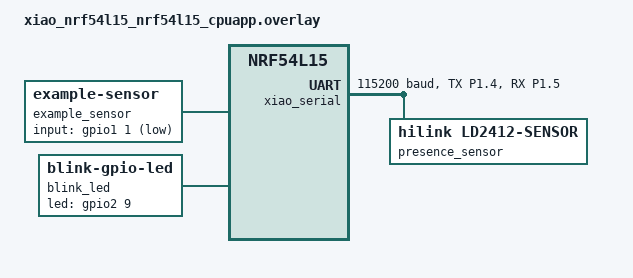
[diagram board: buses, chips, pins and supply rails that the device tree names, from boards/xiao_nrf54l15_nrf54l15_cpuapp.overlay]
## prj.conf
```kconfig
# Copyright (c) 2021 Nordic Semiconductor ASA
# SPDX-License-Identifier: Apache-2.0
#
# This file contains selected Kconfig options for the application.
CONFIG_MAIN_STACK_SIZE=2048
CONFIG_ISR_STACK_SIZE=2048
CONFIG_IDLE_STACK_SIZE=512
CONFIG_STACK_SENTINEL=y

CONFIG_LOG=y
CONFIG_LOG_MODE_IMMEDIATE=n

CONFIG_SERIAL=y
CONFIG_UART_ASYNC_API=y

CONFIG_SENSOR=y
CONFIG_LD2412_SENSOR=y
# CONFIG_LD2412_SENSOR_LOG_LEVEL_DBG=y
CONFIG_BLINK=y
```

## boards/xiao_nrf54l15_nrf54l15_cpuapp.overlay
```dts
// To get started, press Ctrl+Space (or Option+Esc) to bring up the completion menu and view the available nodes.

// You can also use the buttons in the sidebar to perform actions on nodes.
// Actions currently available include:

// * Enabling / disabling the node
// * Adding the bus to a bus
// * Removing the node
// * Connecting ADC channels

// For more help, browse the DeviceTree documentation at https://docs.zephyrproject.org/latest/guides/dts/index.html
// You can also visit the nRF DeviceTree extension documentation at https://docs.nordicsemi.com/bundle/nrf-connect-vscode/page/guides/ncs_configure_app.html#devicetree-support-in-the-extension
&pinctrl {
	uart21_alt_default: uart21_alt_default {
		group1 {
			psels = <NRF_PSEL(UART_TX, 1, 4)>;
		};

		group2 {
			psels = <NRF_PSEL(UART_RX, 1, 5)>;
			bias-pull-up;
		};
	};

	uart21_alt_sleep: uart21_alt_sleep {
		group1 {
			psels = <NRF_PSEL(UART_TX, 1, 4)>,
				<NRF_PSEL(UART_RX, 1, 5)>;
			low-power-enable;
		};
	};
};

&xiao_serial {
	status = "okay";
	current-speed = <115200>;
	pinctrl-0 = <&uart21_alt_default>;
	pinctrl-1 = <&uart21_alt_sleep>;
	pinctrl-names = "default", "sleep";
	presence_sensor: ld2412-sensor {
		compatible = "hilink,ld2412-sensor";
        status = "okay";
	};
};

/ {
	example_sensor: example-sensor {
		compatible = "zephyr,example-sensor";
		input-gpios = <&gpio1 1 (GPIO_PULL_UP | GPIO_ACTIVE_LOW)>;
	};

	blink_led: blink-led {
		compatible = "blink-gpio-led";
		led-gpios = <&gpio2 9 GPIO_ACTIVE_HIGH>;
		blink-period-ms = <1000>;
	};
};
```

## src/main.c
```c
/*
 * Copyright (c) 2021 Nordic Semiconductor ASA
 * SPDX-License-Identifier: Apache-2.0
 */

#include <zephyr/kernel.h>
#include <zephyr/drivers/sensor.h>
#include <zephyr/logging/log.h>
#include <zephyr/devicetree.h>

#include <app/drivers/blink.h>
#include <app/drivers/ld2412.h>

#include <app_version.h>

LOG_MODULE_REGISTER(main, CONFIG_APP_LOG_LEVEL);

#define BLINK_PERIOD_MS_STEP 100U
#define BLINK_PERIOD_MS_MAX  1000U

struct counter
{
    int strings;
    int overflows;
};

static struct counter tracker = {0};

void peripheral_callback(const struct device *dev, char *data, size_t length, bool is_string, void *user_data)
{
    struct counter *c = (struct counter *)user_data;
    if (is_string)
    {
        printk("Recieved string \"%s\"\n", data);
        c->strings++;
    } else {
        printk("Buffer full. Recieved fragment %.*s\n", length, data);
        c->overflows++;
    }
    printk("Strings: %d\nOverflows: %d\n", c->strings, c->overflows);
}

int main(void)
{
	int ret;
	unsigned int period_ms = BLINK_PERIOD_MS_MAX;
	const struct device *sensor, *blink;
	struct sensor_value last_val = { 0 }, val;

	printk("Zephyr Example Application %s\n", APP_VERSION_STRING);

	sensor = DEVICE_DT_GET(DT_NODELABEL(example_sensor));
	if (!device_is_ready(sensor)) {
		LOG_ERR("Sensor not ready");
		return 0;
	}

	blink = DEVICE_DT_GET(DT_NODELABEL(blink_led));
	if (!device_is_ready(blink)) {
		LOG_ERR("Blink LED not ready");
		return 0;
	}

	const struct device *dev = DEVICE_DT_GET(DT_NODELABEL(presence_sensor));

	while (1) {
		k_sleep(K_MSEC(100));
	}

	return 0;
}
```
